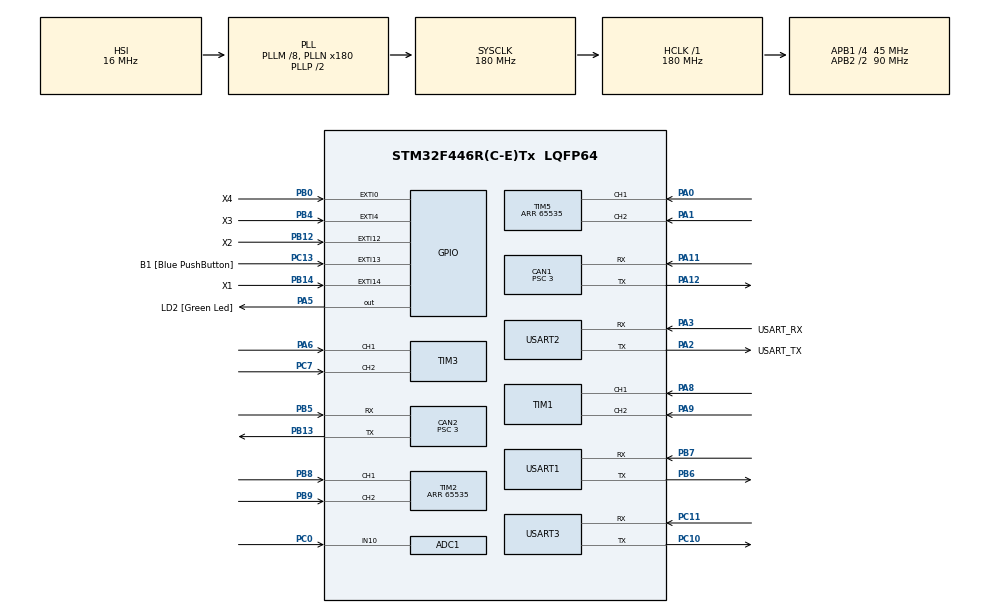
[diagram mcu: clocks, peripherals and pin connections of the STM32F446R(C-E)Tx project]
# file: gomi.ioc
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ADC1.Channel-0\#ChannelRegularConversion=ADC_CHANNEL_10
ADC1.NbrOfConversionFlag=1
ADC1.Rank-0\#ChannelRegularConversion=1
ADC1.SamplingTime-0\#ChannelRegularConversion=ADC_SAMPLETIME_28CYCLES
ADC1.master=1
CAN1.BS1=CAN_BS1_12TQ
CAN1.BS2=CAN_BS2_2TQ
CAN1.CalculateBaudRate=1000000
CAN1.CalculateTimeBit=1000
CAN1.CalculateTimeQuantum=66.66666666666666
CAN1.Prescaler=3
CAN2.BS1=CAN_BS1_12TQ
CAN2.BS2=CAN_BS2_2TQ
CAN2.CalculateBaudRate=1000000
CAN2.CalculateTimeBit=1000
CAN2.CalculateTimeQuantum=66.66666666666666
CAN2.Prescaler=3
Mcu.Family=STM32F4
Mcu.Name=STM32F446R(C-E)Tx
Mcu.Package=LQFP64
NVIC.PriorityGroup=NVIC_PRIORITYGROUP_4
NVIC.TIM8_BRK_TIM12_IRQn=true\:0\:0\:false\:false\:true\:true\:true\:true
NVIC.TIM8_CC_IRQn=true\:0\:0\:false\:false\:true\:true\:true\:true
NVIC.TIM8_TRG_COM_TIM14_IRQn=true\:0\:0\:false\:false\:true\:true\:true\:true
NVIC.TIM8_UP_TIM13_IRQn=true\:0\:0\:false\:false\:true\:true\:true\:true
PA0-WKUP.Signal=S_TIM5_CH1
PA1.Signal=S_TIM5_CH2
PA11.Mode=CAN_Activate
PA11.Signal=CAN1_RX
PA12.Mode=CAN_Activate
PA12.Signal=CAN1_TX
PA13.GPIO_Label=TMS
PA13.Mode=Serial_Wire
PA13.Signal=SYS_JTMS-SWDIO
PA14.GPIO_Label=TCK
PA14.Mode=Serial_Wire
PA14.Signal=SYS_JTCK-SWCLK
PA2.GPIO_Label=USART_TX
PA2.Mode=Asynchronous
PA2.Signal=USART2_TX
PA3.GPIO_Label=USART_RX
PA3.Mode=Asynchronous
PA3.Signal=USART2_RX
PA5.GPIO_Label=LD2 [Green Led]
PA5.Signal=GPIO_Output
PA6.Signal=S_TIM3_CH1
PA8.Signal=S_TIM1_CH1
PA9.Signal=S_TIM1_CH2
PB0.GPIO_Label=X4
PB0.Signal=GPXTI0
PB12.GPIO_Label=X2
PB12.Signal=GPXTI12
PB13.Mode=CAN_Activate
PB13.Signal=CAN2_TX
PB14.GPIO_Label=X1
PB14.Signal=GPXTI14
PB3.GPIO_Label=SWO
PB3.Signal=SYS_JTDO-SWO
PB4.GPIO_Label=X3
PB4.Signal=GPXTI4
PB5.Mode=CAN_Activate
PB5.Signal=CAN2_RX
PB6.Mode=Asynchronous
PB6.Signal=USART1_TX
PB7.Mode=Asynchronous
PB7.Signal=USART1_RX
PB8.Signal=S_TIM2_CH1_ETR
PB9.Signal=S_TIM2_CH2
PC0.Signal=ADCx_IN10
PC10.Mode=Asynchronous
PC10.Signal=USART3_TX
PC11.Mode=Asynchronous
PC11.Signal=USART3_RX
PC12.Signal=UART5_TX
PC13.GPIO_Label=B1 [Blue PushButton]
PC13.GPIO_ModeDefaultEXTI=GPIO_MODE_IT_FALLING
PC13.Signal=GPXTI13
PC14-OSC32_IN.Mode=LSE-External-Oscillator
PC14-OSC32_IN.Signal=RCC_OSC32_IN
PC15-OSC32_OUT.Mode=LSE-External-Oscillator
PC15-OSC32_OUT.Signal=RCC_OSC32_OUT
PC7.Signal=S_TIM3_CH2
PD2.Signal=UART5_RX
PH0-OSC_IN.Mode=HSE-External-Oscillator
PH0-OSC_IN.Signal=RCC_OSC_IN
PH1-OSC_OUT.Mode=HSE-External-Oscillator
PH1-OSC_OUT.Signal=RCC_OSC_OUT
ProjectManager.HeapSize=0x200
ProjectManager.StackSize=0x400
ProjectManager.TargetToolchain=STM32CubeIDE
RCC.48MHZClocksFreq_Value=84000000
RCC.AHBFreq_Value=180000000
RCC.APB1CLKDivider=RCC_HCLK_DIV4
RCC.APB1Freq_Value=45000000
RCC.APB1TimFreq_Value=90000000
RCC.APB2CLKDivider=RCC_HCLK_DIV2
RCC.APB2Freq_Value=90000000
RCC.APB2TimFreq_Value=180000000
RCC.CortexFreq_Value=180000000
RCC.FLatency-AdvancedSettings=FLASH_LATENCY_5
RCC.HCLKFreq_Value=180000000
RCC.HSE_VALUE=8000000
RCC.HSI_VALUE=16000000
RCC.PLLM=8
RCC.PLLN=180
RCC.SYSCLKFreq_VALUE=180000000
RCC.SYSCLKSource=RCC_SYSCLKSOURCE_PLLCLK
RCC.USBFreq_Value=180000000
RCC.VCOOutputFreq_Value=360000000
SH.ADCx_IN10.0=ADC1_IN10,IN10
SH.S_TIM1_CH1.0=TIM1_CH1,Encoder_Interface
SH.S_TIM1_CH2.0=TIM1_CH2,Encoder_Interface
SH.S_TIM2_CH1_ETR.0=TIM2_CH1,Encoder_Interface
SH.S_TIM2_CH2.0=TIM2_CH2,Encoder_Interface
SH.S_TIM3_CH1.0=TIM3_CH1,Encoder_Interface
SH.S_TIM3_CH2.0=TIM3_CH2,Encoder_Interface
SH.S_TIM5_CH1.0=TIM5_CH1,Encoder_Interface
SH.S_TIM5_CH2.0=TIM5_CH2,Encoder_Interface
TIM2.Period=65535
TIM5.Period=65535
TIM8.Period=10000
TIM8.Prescaler=90
USART1.VirtualMode=VM_ASYNC
USART2.VirtualMode=VM_ASYNC
USART3.VirtualMode=VM_ASYNC
VP_TIM8_VS_ClockSourceINT.Mode=Internal
board=NUCLEO-F446RE

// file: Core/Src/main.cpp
/* USER CODE BEGIN Header */
/**
  ******************************************************************************
  * @file           : main.c
  * @brief          : Main program body
  ******************************************************************************
  * @attention
  *
  * Copyright (c) 2023 STMicroelectronics.
  * All rights reserved.
  *
  * This software is licensed under terms that can be found in the LICENSE file
  * in the root directory of this software component.
  * If no LICENSE file comes with this software, it is provided AS-IS.
  *
  ******************************************************************************
  */
/* USER CODE END Header */
#include "main.h"

/* USER CODE BEGIN Includes */
#include <array>
#include <vector>
#include <memory>
#include <queue>

#define STM32_NAGA_LIB

#include "Vesc_CANBUS_Control.hpp"
#include "buffer.hpp"
#include "rotary-encoder.hpp"
/* USER CODE END Includes */

 ADC_HandleTypeDef hadc1;

CAN_HandleTypeDef hcan1;
CAN_HandleTypeDef hcan2;

TIM_HandleTypeDef htim1;
TIM_HandleTypeDef htim2;
TIM_HandleTypeDef htim3;
TIM_HandleTypeDef htim5;
TIM_HandleTypeDef htim8;

UART_HandleTypeDef huart1;
UART_HandleTypeDef huart2;
UART_HandleTypeDef huart3;

/* USER CODE BEGIN PV */
using namespace naga_libs;

std::array<std::shared_ptr<rotary_encoder_stm32>, 4> encs =
	   {nullptr,
		nullptr,
		nullptr,
		nullptr, };

constexpr size_t wheel_num = 4;
std::array<float, wheel_num> target = {0}, now_state = {0}, PID_output = {0};

/* USER CODE END PV */

void SystemClock_Config(void);
static void MX_GPIO_Init(void);
static void MX_USART2_UART_Init(void);
static void MX_CAN1_Init(void);
static void MX_CAN2_Init(void);
static void MX_TIM1_Init(void);
static void MX_TIM2_Init(void);
static void MX_TIM3_Init(void);
static void MX_TIM5_Init(void);
static void MX_USART1_UART_Init(void);
static void MX_USART3_UART_Init(void);
static void MX_TIM8_Init(void);
static void MX_ADC1_Init(void);

/* USER CODE BEGIN 0 */
struct uart_recv_msg{
	bool is_start_bit1 = false;
	const std::array<uint8_t, 2> start_bits;
	std::array<uint8_t, 2> mode;
	std::array<uint8_t, 6> data;

	bool ok_start_bits1(uint8_t id1) {
		if(is_start_bit1)
			return true;

		if(start_bits[0] == id1)
			is_start_bit1 = true;

		return false;
	}

	bool ok_start_bits2 (uint8_t id2) {
		bool tmp = is_start_bit1;
		is_start_bit1 = false;

		if(tmp && start_bits[1] == id2) {
			return true;
		}

		return false;
	}

	void read_mode(uint8_t recv_data[2]) {
		for(size_t i = 0; i < mode.size(); i++) {
			mode[i] = recv_data[i];
		}
	}

	void read_data(uint8_t recv_data[6*sizeof(float)]) {
		for(size_t i = 0; i < data.size(); i++) {
			data[i] = 0;
		}
	}

	uart_recv_msg() = delete;

	uart_recv_msg(uint8_t id1, uint8_t id2) : start_bits({id1, id2}) {
	}

	uart_recv_msg(uint8_t id[2]) : start_bits({id[0], id[1]}) {
	}

	uart_recv_msg(std::array<uint8_t, 2> id): start_bits(id) {
	}

};

/* USER CODE END 0 */

int main(void)
{

  /* MCU Configuration--------------------------------------------------------*/

  /* Reset of all peripherals, Initializes the Flash interface and the Systick. */
  HAL_Init();

  /* Configure the system clock */
  SystemClock_Config();

  /* Initialize all configured peripherals */
  MX_GPIO_Init();
  MX_USART2_UART_Init();
  MX_CAN1_Init();
  MX_CAN2_Init();
  MX_TIM1_Init();
  MX_TIM2_Init();
  MX_TIM3_Init();
  MX_TIM5_Init();
  MX_USART1_UART_Init();
  MX_USART3_UART_Init();
  MX_TIM8_Init();
  MX_ADC1_Init();
  /* USER CODE BEGIN 2 */
  HAL_TIM_Base_Start_IT(&htim8);

  std::array<Vesc_CANBUS_Control_Typedef, 4> us;
  std::array<Vesc_CANBUS_Control_Typedef, 2> shot;

  for(size_t i = 0; i < us.size(); i++) {
	  Vesc_CANBUS_Control_Init(&(us[i]), &hcan2, i);
  }

  Vesc_CANBUS_Control_Init(&(shot[0]), &hcan2, 10);
  Vesc_CANBUS_Control_Init(&(shot[1]), &hcan2, 11);
  HAL_CAN_Start(&hcan2);

  uint8_t header[2] = {'r', 'g'};
  uint8_t mode[2];
  float data[5];

  encs =
  	   {std::make_shared<rotary_encoder_stm32>(&htim1),
  		std::make_shared<rotary_encoder_stm32>(&htim2),
  		std::make_shared<rotary_encoder_stm32>(&htim3),
  		std::make_shared<rotary_encoder_stm32>(&htim5), };

  uint8_t tmp_data[56];
  HAL_UART_Receive(&huart2, tmp_data, 28, 10000ull);
  HAL_UART_Receive(&huart2, tmp_data+28, 28, 10000ull);

  /* USER CODE END 2 */

  /* Infinite loop */
  /* USER CODE BEGIN WHILE */

  while (1)
  {
	  static int counter = 0;

	  if(counter >= 28) {
		  counter%=28;
		  for(int i = 0; i < 28; i++) {
			  tmp_data[i] = tmp_data[28 + i];
		  }
		  HAL_UART_Receive(&huart2, tmp_data+28, 28, 1000000ull);
	  }

	  while(1){
		  if(tmp_data[counter] != header[0]){
			  counter++;
			  if(counter >= 28) {
				  counter%=28;
				  for(int i = 0; i < 28; i++) {
					  tmp_data[i] = tmp_data[28 + i];
				  }
				  HAL_UART_Receive(&huart2, tmp_data+28, 28, 1000000ull);
			  }
			  continue;
		  }
		  if(tmp_data[1+counter] == header[1]){
			  tmp_data[counter] = 0;
			  tmp_data[counter] = 0;
			  for(int i = 0; i < 2; i++) mode[i] = tmp_data[2+i+counter];
			  for(int i = 0; i < 6; i++) {
				  auto tmp = (uint32_t)(tmp_data[4*i+counter    + 4]) << 24
						  | (uint32_t)(tmp_data[4*i+counter + 1 + 4]) << 16
						  | (uint32_t)(tmp_data[4*i+counter + 2 + 4]) << 8
						  | (uint32_t)(tmp_data[4*i+counter + 3 + 4]) << 0 ;
				  data[i] = *(float*)&tmp;
			  }

			  break;

		  }
		  counter++;
	  }

	  	  for(int i = 0; i < 4; i++) {
	  		  target[i] = data[i];
	  	  }

		  for(size_t i = 0; i < 4; i++) {
			  Vesc_CANBUS_Control_Duty(&(us[i]), PID_output[i]);
			  HAL_Delay(2);
		  }

		  HAL_ADC_Start(&hadc1);
		  HAL_ADC_PollForConversion(&hadc1,100);
		  constexpr float coef = 3.3 * 11.0 / 4096.0;
		  float adc_val = (float)HAL_ADC_GetValue(&hadc1)* coef;

		  auto clamp = [](float target, float limit){
			  	 if(target > limit) return limit;
			  	 if(target < -limit) return -limit;
			  	 return target;
		  };

		  static std::array<float, 100> adc_array;
		  static size_t adc_counter = 0;
		  adc_counter %= 100;

		  adc_array[adc_counter] = adc_val;

		  float adc_ave = 0;

		  for (size_t i = 0; i < adc_array.size(); i++) {
			  adc_ave += adc_array[i];
		  }

		  adc_ave /= 100.0f;

		  auto adc_compensation = [=] (float data) {
			  if(adc_ave < 18.0) return 0.0f;
			  return data * (24.0f / adc_ave);
		  };

		  adc_counter++;

		  for(size_t i = 0; i < shot.size(); i++) {
			  Vesc_CANBUS_Control_Duty(&(shot[i]), clamp(adc_compensation(data[4] + ((i == 0 && data[4] != 0) ? 0.05: 0.0)), 1.0));
		  }

		  int8_t i = data[2]*100;
		  HAL_UART_Transmit(&huart2, (uint8_t*)&i, 1, 100000ull);

		  uint8_t s[8] = {0};

		  for(auto &i: s) i = 0;
		  s[3] |= (0.5 < data[5])? 0b10000101 : 0x00;
		  HAL_UART_Transmit(&huart3, s, 8, 100);

    /* USER CODE END WHILE */

  }
}

void SystemClock_Config(void)
{
  RCC_OscInitTypeDef RCC_OscInitStruct = {0};
  RCC_ClkInitTypeDef RCC_ClkInitStruct = {0};

  /** Configure the main internal regulator output voltage
  */
  __HAL_RCC_PWR_CLK_ENABLE();
  __HAL_PWR_VOLTAGESCALING_CONFIG(PWR_REGULATOR_VOLTAGE_SCALE1);

  /** Initializes the RCC Oscillators according to the specified parameters
  * in the RCC_OscInitTypeDef structure.
  */
  RCC_OscInitStruct.OscillatorType = RCC_OSCILLATORTYPE_HSI;
  RCC_OscInitStruct.HSIState = RCC_HSI_ON;
  RCC_OscInitStruct.HSICalibrationValue = RCC_HSICALIBRATION_DEFAULT;
  RCC_OscInitStruct.PLL.PLLState = RCC_PLL_ON;
  RCC_OscInitStruct.PLL.PLLSource = RCC_PLLSOURCE_HSI;
  RCC_OscInitStruct.PLL.PLLM = 8;
  RCC_OscInitStruct.PLL.PLLN = 180;
  RCC_OscInitStruct.PLL.PLLP = RCC_PLLP_DIV2;
  RCC_OscInitStruct.PLL.PLLQ = 2;
  RCC_OscInitStruct.PLL.PLLR = 2;
  if (HAL_RCC_OscConfig(&RCC_OscInitStruct) != HAL_OK)
  {
    Error_Handler();
  }

  /** Activate the Over-Drive mode
  */
  if (HAL_PWREx_EnableOverDrive() != HAL_OK)
  {
    Error_Handler();
  }

  /** Initializes the CPU, AHB and APB buses clocks
  */
  RCC_ClkInitStruct.ClockType = RCC_CLOCKTYPE_HCLK|RCC_CLOCKTYPE_SYSCLK
                              |RCC_CLOCKTYPE_PCLK1|RCC_CLOCKTYPE_PCLK2;
  RCC_ClkInitStruct.SYSCLKSource = RCC_SYSCLKSOURCE_PLLCLK;
  RCC_ClkInitStruct.AHBCLKDivider = RCC_SYSCLK_DIV1;
  RCC_ClkInitStruct.APB1CLKDivider = RCC_HCLK_DIV4;
  RCC_ClkInitStruct.APB2CLKDivider = RCC_HCLK_DIV2;

  if (HAL_RCC_ClockConfig(&RCC_ClkInitStruct, FLASH_LATENCY_5) != HAL_OK)
  {
    Error_Handler();
  }
}

static void MX_ADC1_Init(void)
{

  ADC_ChannelConfTypeDef sConfig = {0};

  /** Configure the global features of the ADC (Clock, Resolution, Data Alignment and number of conversion)
  */
  hadc1.Instance = ADC1;
  hadc1.Init.ClockPrescaler = ADC_CLOCK_SYNC_PCLK_DIV4;
  hadc1.Init.Resolution = ADC_RESOLUTION_12B;
  hadc1.Init.ScanConvMode = DISABLE;
  hadc1.Init.ContinuousConvMode = DISABLE;
  hadc1.Init.DiscontinuousConvMode = DISABLE;
  hadc1.Init.ExternalTrigConvEdge = ADC_EXTERNALTRIGCONVEDGE_NONE;
  hadc1.Init.ExternalTrigConv = ADC_SOFTWARE_START;
  hadc1.Init.DataAlign = ADC_DATAALIGN_RIGHT;
  hadc1.Init.NbrOfConversion = 1;
  hadc1.Init.DMAContinuousRequests = DISABLE;
  hadc1.Init.EOCSelection = ADC_EOC_SINGLE_CONV;
  if (HAL_ADC_Init(&hadc1) != HAL_OK)
  {
    Error_Handler();
  }

  /** Configure for the selected ADC regular channel its corresponding rank in the sequencer and its sample time.
  */
  sConfig.Channel = ADC_CHANNEL_10;
  sConfig.Rank = 1;
  sConfig.SamplingTime = ADC_SAMPLETIME_28CYCLES;
  if (HAL_ADC_ConfigChannel(&hadc1, &sConfig) != HAL_OK)
  {
    Error_Handler();
  }

}

static void MX_CAN1_Init(void)
{

  hcan1.Instance = CAN1;
  hcan1.Init.Prescaler = 3;
  hcan1.Init.Mode = CAN_MODE_NORMAL;
  hcan1.Init.SyncJumpWidth = CAN_SJW_1TQ;
  hcan1.Init.TimeSeg1 = CAN_BS1_12TQ;
  hcan1.Init.TimeSeg2 = CAN_BS2_2TQ;
  hcan1.Init.TimeTriggeredMode = DISABLE;
  hcan1.Init.AutoBusOff = DISABLE;
  hcan1.Init.AutoWakeUp = DISABLE;
  hcan1.Init.AutoRetransmission = DISABLE;
  hcan1.Init.ReceiveFifoLocked = DISABLE;
  hcan1.Init.TransmitFifoPriority = DISABLE;
  if (HAL_CAN_Init(&hcan1) != HAL_OK)
  {
    Error_Handler();
  }

}

static void MX_CAN2_Init(void)
{

  hcan2.Instance = CAN2;
  hcan2.Init.Prescaler = 3;
  hcan2.Init.Mode = CAN_MODE_NORMAL;
  hcan2.Init.SyncJumpWidth = CAN_SJW_1TQ;
  hcan2.Init.TimeSeg1 = CAN_BS1_12TQ;
  hcan2.Init.TimeSeg2 = CAN_BS2_2TQ;
  hcan2.Init.TimeTriggeredMode = DISABLE;
  hcan2.Init.AutoBusOff = DISABLE;
  hcan2.Init.AutoWakeUp = DISABLE;
  hcan2.Init.AutoRetransmission = DISABLE;
  hcan2.Init.ReceiveFifoLocked = DISABLE;
  hcan2.Init.TransmitFifoPriority = DISABLE;
  if (HAL_CAN_Init(&hcan2) != HAL_OK)
  {
    Error_Handler();
  }

}

static void MX_TIM1_Init(void)
{

  TIM_Encoder_InitTypeDef sConfig = {0};
  TIM_MasterConfigTypeDef sMasterConfig = {0};

  htim1.Instance = TIM1;
  htim1.Init.Prescaler = 0;
  htim1.Init.CounterMode = TIM_COUNTERMODE_UP;
  htim1.Init.Period = 65535;
  htim1.Init.ClockDivision = TIM_CLOCKDIVISION_DIV1;
  htim1.Init.RepetitionCounter = 0;
  htim1.Init.AutoReloadPreload = TIM_AUTORELOAD_PRELOAD_DISABLE;
  sConfig.EncoderMode = TIM_ENCODERMODE_TI1;
  sConfig.IC1Polarity = TIM_ICPOLARITY_RISING;
  sConfig.IC1Selection = TIM_ICSELECTION_DIRECTTI;
  sConfig.IC1Prescaler = TIM_ICPSC_DIV1;
  sConfig.IC1Filter = 0;
  sConfig.IC2Polarity = TIM_ICPOLARITY_RISING;
  sConfig.IC2Selection = TIM_ICSELECTION_DIRECTTI;
  sConfig.IC2Prescaler = TIM_ICPSC_DIV1;
  sConfig.IC2Filter = 0;
  if (HAL_TIM_Encoder_Init(&htim1, &sConfig) != HAL_OK)
  {
    Error_Handler();
  }
  sMasterConfig.MasterOutputTrigger = TIM_TRGO_RESET;
  sMasterConfig.MasterSlaveMode = TIM_MASTERSLAVEMODE_DISABLE;
  if (HAL_TIMEx_MasterConfigSynchronization(&htim1, &sMasterConfig) != HAL_OK)
  {
    Error_Handler();
  }

}

static void MX_TIM2_Init(void)
{

  TIM_Encoder_InitTypeDef sConfig = {0};
  TIM_MasterConfigTypeDef sMasterConfig = {0};

  htim2.Instance = TIM2;
  htim2.Init.Prescaler = 0;
  htim2.Init.CounterMode = TIM_COUNTERMODE_UP;
  htim2.Init.Period = 65535;
  htim2.Init.ClockDivision = TIM_CLOCKDIVISION_DIV1;
  htim2.Init.AutoReloadPreload = TIM_AUTORELOAD_PRELOAD_DISABLE;
  sConfig.EncoderMode = TIM_ENCODERMODE_TI1;
  sConfig.IC1Polarity = TIM_ICPOLARITY_RISING;
  sConfig.IC1Selection = TIM_ICSELECTION_DIRECTTI;
  sConfig.IC1Prescaler = TIM_ICPSC_DIV1;
  sConfig.IC1Filter = 0;
  sConfig.IC2Polarity = TIM_ICPOLARITY_RISING;
  sConfig.IC2Selection = TIM_ICSELECTION_DIRECTTI;
  sConfig.IC2Prescaler = TIM_ICPSC_DIV1;
  sConfig.IC2Filter = 0;
  if (HAL_TIM_Encoder_Init(&htim2, &sConfig) != HAL_OK)
  {
    Error_Handler();
  }
  sMasterConfig.MasterOutputTrigger = TIM_TRGO_RESET;
  sMasterConfig.MasterSlaveMode = TIM_MASTERSLAVEMODE_DISABLE;
  if (HAL_TIMEx_MasterConfigSynchronization(&htim2, &sMasterConfig) != HAL_OK)
  {
    Error_Handler();
  }

}

static void MX_TIM3_Init(void)
{

  TIM_Encoder_InitTypeDef sConfig = {0};
  TIM_MasterConfigTypeDef sMasterConfig = {0};

  htim3.Instance = TIM3;
  htim3.Init.Prescaler = 0;
  htim3.Init.CounterMode = TIM_COUNTERMODE_UP;
  htim3.Init.Period = 65535;
  htim3.Init.ClockDivision = TIM_CLOCKDIVISION_DIV1;
  htim3.Init.AutoReloadPreload = TIM_AUTORELOAD_PRELOAD_DISABLE;
  sConfig.EncoderMode = TIM_ENCODERMODE_TI1;
  sConfig.IC1Polarity = TIM_ICPOLARITY_RISING;
  sConfig.IC1Selection = TIM_ICSELECTION_DIRECTTI;
  sConfig.IC1Prescaler = TIM_ICPSC_DIV1;
  sConfig.IC1Filter = 0;
  sConfig.IC2Polarity = TIM_ICPOLARITY_RISING;
  sConfig.IC2Selection = TIM_ICSELECTION_DIRECTTI;
  sConfig.IC2Prescaler = TIM_ICPSC_DIV1;
  sConfig.IC2Filter = 0;
  if (HAL_TIM_Encoder_Init(&htim3, &sConfig) != HAL_OK)
  {
    Error_Handler();
  }
  sMasterConfig.MasterOutputTrigger = TIM_TRGO_RESET;
  sMasterConfig.MasterSlaveMode = TIM_MASTERSLAVEMODE_DISABLE;
  if (HAL_TIMEx_MasterConfigSynchronization(&htim3, &sMasterConfig) != HAL_OK)
  {
    Error_Handler();
  }

}

static void MX_TIM5_Init(void)
{

  TIM_Encoder_InitTypeDef sConfig = {0};
  TIM_MasterConfigTypeDef sMasterConfig = {0};

  htim5.Instance = TIM5;
  htim5.Init.Prescaler = 0;
  htim5.Init.CounterMode = TIM_COUNTERMODE_UP;
  htim5.Init.Period = 65535;
  htim5.Init.ClockDivision = TIM_CLOCKDIVISION_DIV1;
  htim5.Init.AutoReloadPreload = TIM_AUTORELOAD_PRELOAD_DISABLE;
  sConfig.EncoderMode = TIM_ENCODERMODE_TI1;
  sConfig.IC1Polarity = TIM_ICPOLARITY_RISING;
  sConfig.IC1Selection = TIM_ICSELECTION_DIRECTTI;
  sConfig.IC1Prescaler = TIM_ICPSC_DIV1;
  sConfig.IC1Filter = 0;
  sConfig.IC2Polarity = TIM_ICPOLARITY_RISING;
  sConfig.IC2Selection = TIM_ICSELECTION_DIRECTTI;
  sConfig.IC2Prescaler = TIM_ICPSC_DIV1;
  sConfig.IC2Filter = 0;
  if (HAL_TIM_Encoder_Init(&htim5, &sConfig) != HAL_OK)
  {
    Error_Handler();
  }
  sMasterConfig.MasterOutputTrigger = TIM_TRGO_RESET;
  sMasterConfig.MasterSlaveMode = TIM_MASTERSLAVEMODE_DISABLE;
  if (HAL_TIMEx_MasterConfigSynchronization(&htim5, &sMasterConfig) != HAL_OK)
  {
    Error_Handler();
  }

}

static void MX_TIM8_Init(void)
{

  TIM_ClockConfigTypeDef sClockSourceConfig = {0};
  TIM_MasterConfigTypeDef sMasterConfig = {0};

  htim8.Instance = TIM8;
  htim8.Init.Prescaler = 90;
  htim8.Init.CounterMode = TIM_COUNTERMODE_UP;
  htim8.Init.Period = 10000;
  htim8.Init.ClockDivision = TIM_CLOCKDIVISION_DIV1;
  htim8.Init.RepetitionCounter = 0;
  htim8.Init.AutoReloadPreload = TIM_AUTORELOAD_PRELOAD_DISABLE;
  if (HAL_TIM_Base_Init(&htim8) != HAL_OK)
  {
    Error_Handler();
  }
  sClockSourceConfig.ClockSource = TIM_CLOCKSOURCE_INTERNAL;
  if (HAL_TIM_ConfigClockSource(&htim8, &sClockSourceConfig) != HAL_OK)
  {
    Error_Handler();
  }
  sMasterConfig.MasterOutputTrigger = TIM_TRGO_RESET;
  sMasterConfig.MasterSlaveMode = TIM_MASTERSLAVEMODE_DISABLE;
  if (HAL_TIMEx_MasterConfigSynchronization(&htim8, &sMasterConfig) != HAL_OK)
  {
    Error_Handler();
  }

}

static void MX_USART1_UART_Init(void)
{

  huart1.Instance = USART1;
  huart1.Init.BaudRate = 115200;
  huart1.Init.WordLength = UART_WORDLENGTH_8B;
  huart1.Init.StopBits = UART_STOPBITS_1;
  huart1.Init.Parity = UART_PARITY_NONE;
  huart1.Init.Mode = UART_MODE_TX_RX;
  huart1.Init.HwFlowCtl = UART_HWCONTROL_NONE;
  huart1.Init.OverSampling = UART_OVERSAMPLING_16;
  if (HAL_UART_Init(&huart1) != HAL_OK)
  {
    Error_Handler();
  }

}

static void MX_USART2_UART_Init(void)
{

  huart2.Instance = USART2;
  huart2.Init.BaudRate = 115200;
  huart2.Init.WordLength = UART_WORDLENGTH_8B;
  huart2.Init.StopBits = UART_STOPBITS_1;
  huart2.Init.Parity = UART_PARITY_NONE;
  huart2.Init.Mode = UART_MODE_TX_RX;
  huart2.Init.HwFlowCtl = UART_HWCONTROL_NONE;
  huart2.Init.OverSampling = UART_OVERSAMPLING_16;
  if (HAL_UART_Init(&huart2) != HAL_OK)
  {
    Error_Handler();
  }

}

static void MX_USART3_UART_Init(void)
{

  huart3.Instance = USART3;
  huart3.Init.BaudRate = 115200;
  huart3.Init.WordLength = UART_WORDLENGTH_8B;
  huart3.Init.StopBits = UART_STOPBITS_1;
  huart3.Init.Parity = UART_PARITY_NONE;
  huart3.Init.Mode = UART_MODE_TX_RX;
  huart3.Init.HwFlowCtl = UART_HWCONTROL_NONE;
  huart3.Init.OverSampling = UART_OVERSAMPLING_16;
  if (HAL_UART_Init(&huart3) != HAL_OK)
  {
    Error_Handler();
  }

}

static void MX_GPIO_Init(void)
{
  GPIO_InitTypeDef GPIO_InitStruct = {0};

  /* GPIO Ports Clock Enable */
  __HAL_RCC_GPIOC_CLK_ENABLE();
  __HAL_RCC_GPIOH_CLK_ENABLE();
  __HAL_RCC_GPIOA_CLK_ENABLE();
  __HAL_RCC_GPIOB_CLK_ENABLE();
  __HAL_RCC_GPIOD_CLK_ENABLE();

  /*Configure GPIO pin Output Level */
  HAL_GPIO_WritePin(LD2_GPIO_Port, LD2_Pin, GPIO_PIN_RESET);

  /*Configure GPIO pin : B1_Pin */
  GPIO_InitStruct.Pin = B1_Pin;
  GPIO_InitStruct.Mode = GPIO_MODE_IT_FALLING;
  GPIO_InitStruct.Pull = GPIO_NOPULL;
  HAL_GPIO_Init(B1_GPIO_Port, &GPIO_InitStruct);

  /*Configure GPIO pin : LD2_Pin */
  GPIO_InitStruct.Pin = LD2_Pin;
  GPIO_InitStruct.Mode = GPIO_MODE_OUTPUT_PP;
  GPIO_InitStruct.Pull = GPIO_NOPULL;
  GPIO_InitStruct.Speed = GPIO_SPEED_FREQ_LOW;
  HAL_GPIO_Init(LD2_GPIO_Port, &GPIO_InitStruct);

  /*Configure GPIO pins : X4_Pin X2_Pin X1_Pin X3_Pin */
  GPIO_InitStruct.Pin = X4_Pin|X2_Pin|X1_Pin|X3_Pin;
  GPIO_InitStruct.Mode = GPIO_MODE_IT_RISING;
  GPIO_InitStruct.Pull = GPIO_NOPULL;
  HAL_GPIO_Init(GPIOB, &GPIO_InitStruct);

  /*Configure GPIO pin : PC12 */
  GPIO_InitStruct.Pin = GPIO_PIN_12;
  GPIO_InitStruct.Mode = GPIO_MODE_AF_PP;
  GPIO_InitStruct.Pull = GPIO_NOPULL;
  GPIO_InitStruct.Speed = GPIO_SPEED_FREQ_VERY_HIGH;
  GPIO_InitStruct.Alternate = GPIO_AF8_UART5;
  HAL_GPIO_Init(GPIOC, &GPIO_InitStruct);

  /*Configure GPIO pin : PD2 */
  GPIO_InitStruct.Pin = GPIO_PIN_2;
  GPIO_InitStruct.Mode = GPIO_MODE_AF_PP;
  GPIO_InitStruct.Pull = GPIO_NOPULL;
  GPIO_InitStruct.Speed = GPIO_SPEED_FREQ_VERY_HIGH;
  GPIO_InitStruct.Alternate = GPIO_AF8_UART5;
  HAL_GPIO_Init(GPIOD, &GPIO_InitStruct);

}

/* USER CODE BEGIN 4 */
void HAL_TIM_PeriodElapsedCallback(TIM_HandleTypeDef* htim){
//	HAL_GPIO_TogglePin(LD2_GPIO_Port, LD2_Pin);

#pragma region is_nullptr_check
	bool is_nullptr = false;

	for(auto enc: encs)
		if(enc == nullptr) is_nullptr = true;

	if(is_nullptr) return;
#pragma endregion

#pragma region PID
	constexpr float dt = 1/100;
	constexpr float rate = 100;
	constexpr float resolution = 5120 * 2;

	for(size_t i = 0; i < wheel_num; i++) {
		int16_t enc = -(*(encs[i]))();
		now_state[i] = (float)enc /resolution *rate;
	}

	HAL_GPIO_WritePin(LD2_GPIO_Port, LD2_Pin, now_state[0]? GPIO_PIN_SET: GPIO_PIN_RESET);

	static std::array<float, wheel_num> integral_error = { 0 };
	static std::array<float, wheel_num> pre_error      = { 0 };

	constexpr std::array<float, wheel_num> kp = { -0.08f, -0.08f, 0.08f, 0.08f },//0.14
										   ki = { -0.02f, -0.02f, 0.02f, 0.02f },
										   kd = { -0.0f, -0.01f, 0.0f, 0.0f };

	std::array<float, wheel_num> error = {0}, diff_error = {0};

	auto clamp = [&](float& target, float limit) {
		if(target > limit)
			target = limit;
		if(target < -limit)
			target = -limit;
	};

	for (size_t i = 0; i < wheel_num; i++) {
		error[i] = target[i] - now_state[i];
		integral_error[i] += error[i];
		diff_error[i] = pre_error[i] - error[i];

		if(target[i] == 0.0) {
			integral_error[i] = 0;
		}

//		clamp(integral_error[i], 1.0);

//		if(target[i] == 0.0f) integral_error[i] = 0.0;

		PID_output[i] = (kp[i] * error[i] + ki[i] * integral_error[i] + kd[i] * diff_error[i]);
	}

	pre_error = error;
#pragma endregion
}
/* USER CODE END 4 */

void Error_Handler(void)
{
  __disable_irq();
  while (1)
  {
  }
}
